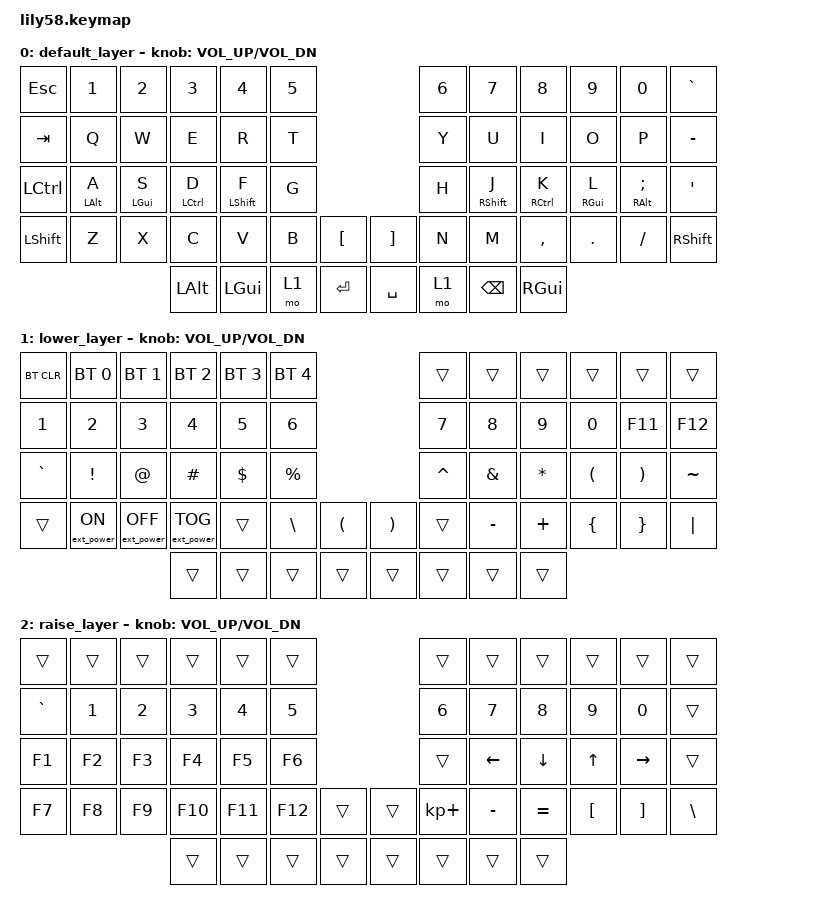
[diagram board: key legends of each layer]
/*
 * Copyright (c) 2020 The ZMK Contributors
 *
 * SPDX-License-Identifier: MIT
 */

#include <behaviors.dtsi>
#include <dt-bindings/zmk/bt.h>
#include <dt-bindings/zmk/ext_power.h>
#include <dt-bindings/zmk/keys.h>

/ {
    behaviors {
        hm: hm {
            compatible = "zmk,behavior-hold-tap";
            label = "HM";
            bindings = <&kp>, <&kp>;

            #binding-cells = <2>;
            tapping-term-ms = <400>;
            quick-tap-ms = <400>;
            require-prior-idle-ms = <400>;
        };
    };

    keymap {
        compatible = "zmk,keymap";

        default_layer {
            // ------------------------------------------------------------------------------------------------------------
            // |  ESC  |  1  |  2  |  3   |  4   |  5   |                   |  6   |  7    |  8    |  9   |   0   |   `   |
            // |  TAB  |  Q  |  W  |  E   |  R   |  T   |                   |  Y   |  U    |  I    |  O   |   P   |   -   |
            // |  CTRL |  A  |  S  |  D   |  F   |  G   |                   |  H   |  J    |  K    |  L   |   ;   |   '   |
            // | SHIFT |  Z  |  X  |  C   |  V   |  B   |   "["  |  |  "]"  |  N   |  M    |  ,    |  .   |   /   | SHIFT |
            //                     | ALT  | GUI  | LOWER|  SPACE |  | ENTER | RAISE| BSPC  | GUI   |

            bindings = <
&kp ESC    &kp N1          &kp N2          &kp N3              &kp N4            &kp N5                           &kp N6  &kp N7             &kp N8               &kp N9           &kp N0              &kp GRAVE
&kp TAB    &kp Q           &kp W           &kp E               &kp R             &kp T                            &kp Y   &kp U              &kp I                &kp O            &kp P               &kp MINUS
&kp LCTRL  &hm LEFT_ALT A  &hm LEFT_GUI S  &hm LEFT_CONTROL D  &hm LEFT_SHIFT F  &kp G                            &kp H   &hm RIGHT_SHIFT J  &hm RIGHT_CONTROL K  &hm RIGHT_GUI L  &hm RIGHT_ALT SEMI  &kp SQT
&kp LSHFT  &kp Z           &kp X           &kp C               &kp V             &kp B   &kp LBKT      &kp RBKT   &kp N   &kp M              &kp COMMA            &kp DOT          &kp FSLH            &kp RSHFT
                                           &kp LALT            &kp LGUI          &mo 1   &kp RETURN    &kp SPACE  &mo 1   &kp BSPC           &kp RGUI
            >;

            sensor-bindings = <&inc_dec_kp C_VOL_UP C_VOL_DN>;
        };

        lower_layer {
            // ------------------------------------------------------------------------------------------------------------
            // | BTCLR | BT1 | BT2 |  BT3 |  BT4 |  BT5 |                   |      |       |       |      |       |       |
            // |  F1   |  F2 |  F3 |  F4  |  F5  |  F6  |                   |  F7  |  F8   |  F9   |  F10 |  F11  |  F12  |
            // |   `   |  !  |  @  |  #   |  $   |  %   |                   |  ^   |  &    |  *    |  (   |   )   |   ~   |
            // |       |     |     |      |      |      |        |  |       |      |  _    |  +    |  {   |   }   |  "|"  |
            //                     |      |      |      |        |  |       |      |       |       |

            bindings = <
&bt BT_CLR    &bt BT_SEL 0      &bt BT_SEL 1       &bt BT_SEL 2       &bt BT_SEL 3  &bt BT_SEL 4                                                  &trans     &trans     &trans        &trans        &trans    &trans
&kp NUMBER_1  &kp NUMBER_2      &kp NUMBER_3       &kp NUMBER_4       &kp NUMBER_5  &kp NUMBER_6                                                  &kp N7     &kp N8     &kp NUMBER_9  &kp NUMBER_0  &kp F11   &kp F12
&kp GRAVE     &kp EXCL          &kp AT             &kp HASH           &kp DOLLAR    &kp PRCNT                                                     &kp CARET  &kp AMPS   &kp ASTRK     &kp LPAR      &kp RPAR  &kp TILDE
&trans        &ext_power EP_ON  &ext_power EP_OFF  &ext_power EP_TOG  &trans        &kp BACKSLASH  &kp LEFT_PARENTHESIS    &kp RIGHT_PARENTHESIS  &trans     &kp MINUS  &kp PLUS      &kp LBRC      &kp RBRC  &kp PIPE
                                                   &trans             &trans        &trans         &trans                  &trans                 &trans     &trans     &trans
            >;

            sensor-bindings = <&inc_dec_kp C_VOL_UP C_VOL_DN>;
        };

        raise_layer {
            // ------------------------------------------------------------------------------------------------------------
            // |       |     |     |      |      |      |                   |      |       |       |      |       |       |
            // |   `   |  1  |  2  |  3   |  4   |  5   |                   |  6   |   7   |   8   |  9   |   0   |       |
            // |   F1  |  F2 |  F3 |  F4  |  F5  |  F6  |                   |      |   <-  |   v   |  ^   |  ->   |       |
            // |   F7  |  F8 |  F9 |  F10 |  F11 |  F12 |        |  |       |  +   |   -   |   =   |  [   |   ]   |   \   |
            //                     |      |      |      |        |  |       |      |       |       |

            bindings = <
&trans     &trans  &trans  &trans   &trans   &trans                     &trans       &trans     &trans     &trans    &trans     &trans
&kp GRAVE  &kp N1  &kp N2  &kp N3   &kp N4   &kp N5                     &kp N6       &kp N7     &kp N8     &kp N9    &kp N0     &trans
&kp F1     &kp F2  &kp F3  &kp F4   &kp F5   &kp F6                     &trans       &kp LEFT   &kp DOWN   &kp UP    &kp RIGHT  &trans
&kp F7     &kp F8  &kp F9  &kp F10  &kp F11  &kp F12  &trans    &trans  &kp KP_PLUS  &kp MINUS  &kp EQUAL  &kp LBKT  &kp RBKT   &kp BSLH
                           &trans   &trans   &trans   &trans    &trans  &trans       &trans     &trans
            >;

            sensor-bindings = <&inc_dec_kp C_VOL_UP C_VOL_DN>;
        };
    };
};
